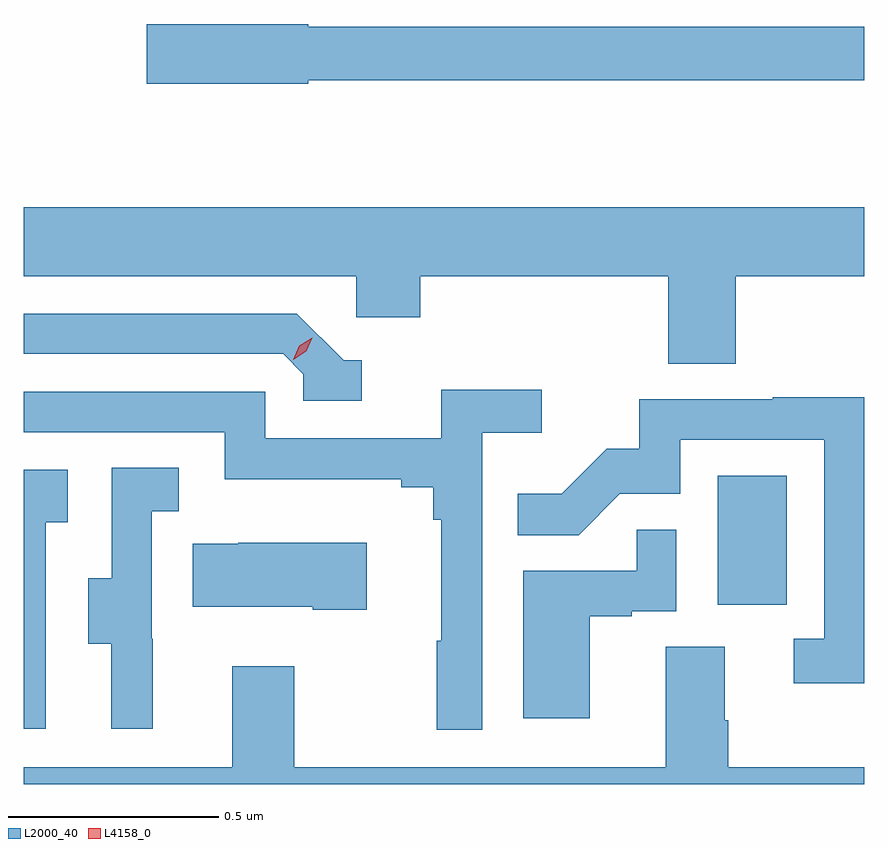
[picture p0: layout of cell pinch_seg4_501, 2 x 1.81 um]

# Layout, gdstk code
import gdstk
lib = gdstk.Library(unit=1e-6, precision=1e-09)
def R(c, l, rs):  # rectangles x0, y0, x1, y1
    for r in rs: c.add(gdstk.rectangle(r[:2], r[2:], *l))
def P(c, l, *ps):  # polygons
    for p in ps: c.add(gdstk.Polygon(p, *l))
L2000_40 = (2000, 40)
L4158_0 = (4158, 0)

pinch_seg4_501 = lib.new_cell('pinch_seg4_501')
R(pinch_seg4_501, L2000_40, [(912.614,758.742,912.778,759.049)])
P(pinch_seg4_501, L2000_40, [(911.64,759.99),(912.963,759.99),(912.963,760.118),(911.64,760.118),(911.64,760.124),(911.256,760.124),(911.256,759.982),(911.64,759.982)],
  [(912.657,759.524),(912.963,759.524),(912.963,759.688),(910.963,759.688),(910.963,759.524),(911.754,759.524),(911.754,759.426),(911.906,759.426),(911.906,759.524),(912.497,759.524),(912.497,759.316),(912.657,759.316)],
  [(911.767,759.324),(911.724,759.324),(911.613,759.435),(910.963,759.435),(910.963,759.339),(911.58,759.339),(911.628,759.291),(911.628,759.228),(911.767,759.228)],
  [(912.054,759.152),(912.196,759.152),(912.196,759.254),(911.957,759.254),(911.957,759.138),(911.538,759.138),(911.538,759.249),(910.963,759.249),(910.963,759.153),(911.442,759.153),(911.442,759.041),(911.861,759.041),(911.861,759.022),(911.938,759.022),(911.938,758.945),(911.957,758.945),(911.957,758.657),(911.946,758.657),(911.946,758.445),(912.054,758.445)],
  [(912.963,759.236),(912.745,759.236),(912.745,759.231),(912.427,759.231),(912.427,759.114),(912.35,759.114),(912.243,759.007),(912.139,759.007),(912.139,758.908),(912.283,758.908),(912.381,759.006),(912.525,759.006),(912.525,759.135),(912.867,759.135),(912.867,758.661),(912.795,758.661),(912.795,758.556),(912.963,758.556)],
  [(911.27,758.661),(911.268,758.661),(911.268,758.965),(911.332,758.965),(911.332,759.068),(911.172,759.068),(911.172,758.805),(911.117,758.805),(911.117,758.65),(911.171,758.65),(911.171,758.448),(911.27,758.448)],
  [(911.016,758.939),(911.068,758.939),(911.068,759.063),(910.963,759.063),(910.963,758.448),(911.016,758.448)],
  [(912.31,758.715),(912.41,758.715),(912.41,758.727),(912.516,758.727),(912.516,758.921),(912.421,758.921),(912.421,758.823),(912.152,758.823),(912.152,758.472),(912.31,758.472)],
  [(911.779,758.89),(911.473,758.89),(911.473,758.887),(911.365,758.887),(911.365,758.738),(911.651,758.738),(911.651,758.731),(911.779,758.731)],
  [(912.963,758.356),(912.639,758.356),(912.639,758.468),(912.631,758.468),(912.631,758.642),(912.491,758.642),(912.491,758.356),(911.607,758.356),(911.607,758.596),(911.459,758.596),(911.459,758.356),(910.963,758.356),(910.963,758.316),(912.963,758.316)])
P(pinch_seg4_501, L4158_0, [(911.604,759.325),(911.604,759.325),(911.619,759.358),(911.65,759.378),(911.65,759.378),(911.65,759.378),(911.635,759.345),(911.604,759.325)])

lib.write_gds('pinch_seg4_501.gds')
